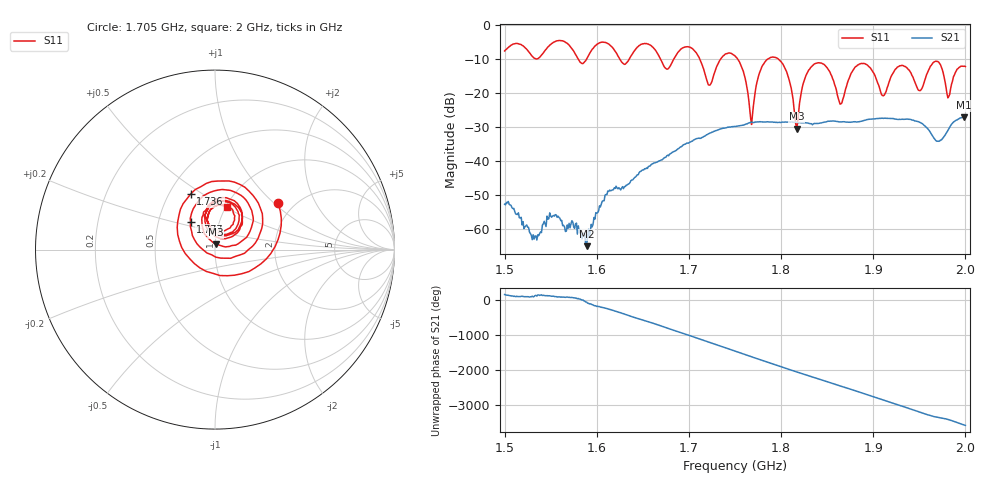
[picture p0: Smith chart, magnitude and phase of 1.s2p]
! NanoVNA-App by SYSJOINT et al v1.1.209 (+OD18)
! Date: 2026-01-21 14:40:03
! Start: 1,5GHz Stop: 2GHz Points: 501
! S-Parameter data: F S11 S21 S12 S22
# Hz S RI R 50
!  Frequency  S11_Real  S11_Imag  S21_Real  S21_Imag  S12_Real  S12_Imag  S22_Real  S22_Imag
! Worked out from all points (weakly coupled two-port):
!   501 points, 1.5 GHz to 2 GHz, reference 50 ohm
!   highest |S21| = -27.12 dB at 1.998 GHz (marker M1); lowest = -65.2 dB at 1.589 GHz (marker M2)
!   lowest |S11| = -30.5 dB at 1.817 GHz (marker M3), VSWR 1.06, Z = 50.4 + j2.98 ohm
!   |S11| at or under -10 dB: 1.712 GHz to 1.734 GHz (22.52 MHz wide, 1.31 % of centre); 1.753 GHz to 1.785 GHz (32.32 MHz wide, 1.83 % of centre); 1.797 GHz to end of sweep (the widest 3 of 6)
!   S12 and S22 are empty: the file has one direction only
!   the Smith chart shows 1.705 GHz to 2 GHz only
!   S11 on the Smith chart (normalised r, x): 1.705 GHz: 1.66, +1.06; 1.736 GHz: 0.64, +0.45; 1.777 GHz: 0.73, +0.23; 2 GHz: 1.01, +0.51
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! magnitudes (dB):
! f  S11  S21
! 1.5 GHz  -7.6  -52.8
! 1.531 GHz  -9.4  -61.8
! 1.584 GHz  -11.3  -63.0
! 1.589 GHz  -9.9  -65.2
! 1.612 GHz  -5.4  -48.9
! 1.667 GHz  -8.8  -40.1
! 1.705 GHz  -7.2  -33.8
! 1.722 GHz  -17.7  -31.9
! 1.736 GHz  -9.4  -30.4
! 1.75 GHz  -9.0  -29.8
! 1.768 GHz  -29.3  -28.7
! 1.777 GHz  -13.7  -28.4
! 1.801 GHz  -11.1  -28.6
! 1.817 GHz  -30.5  -28.6
! 1.834 GHz  -11.9  -29.3
! 1.865 GHz  -23.2  -28.5
! 1.885 GHz  -11.4  -28.4
! 1.917 GHz  -16.9  -27.5
! 1.969 GHz  -10.7  -34.2
! 1.982 GHz  -21.0  -30.5
! 1.998 GHz  -12.1  -27.1
! 2 GHz  -12.2  -27.2
